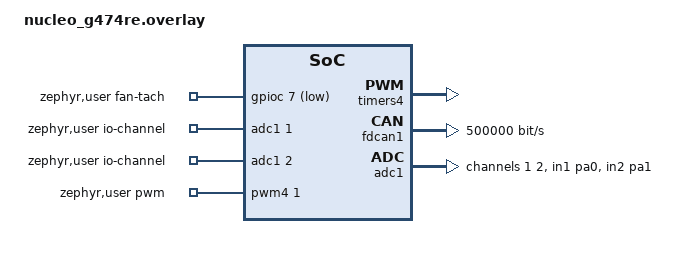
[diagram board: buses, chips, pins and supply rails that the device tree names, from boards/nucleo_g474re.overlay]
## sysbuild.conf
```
# Build MCUboot alongside the app (west build --sysbuild).
# Mode defaults to "swap using offset": MCUboot boots the new image on trial
# and automatically reverts to the previous one if it's never confirmed
# (see boot_write_img_confirmed() in src/main.c). No scratch partition is
# needed for this mode, matching the board's existing flash layout.
SB_CONFIG_BOOTLOADER_MCUBOOT=y
```

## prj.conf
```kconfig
CONFIG_CAN=y
CONFIG_GPIO=y
CONFIG_POLL=y
CONFIG_PWM=y
CONFIG_ADC=y

CONFIG_SERIAL=y
CONFIG_CONSOLE=y
CONFIG_UART_CONSOLE=y
CONFIG_PRINTK=y
CONFIG_STDOUT_CONSOLE=y

CONFIG_MAIN_STACK_SIZE=2048

# MCUboot support (bootloader image is built by sysbuild; CONFIG_BOOTLOADER_MCUBOOT
# and CONFIG_MCUBOOT_MODE_* are propagated to this app automatically from
# sysbuild.conf). IMG_MANAGER is needed for boot_write_img_confirmed() in main.c,
# and itself depends on FLASH_MAP + STREAM_FLASH (not auto-selected).
CONFIG_FLASH=y
CONFIG_FLASH_MAP=y
CONFIG_STREAM_FLASH=y
CONFIG_IMG_MANAGER=y
CONFIG_MCUBOOT_IMG_MANAGER=y
```

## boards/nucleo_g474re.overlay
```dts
/*
 * Fan control node overlay.
 *
 * Arduino header pin usage on this project:
 *   D10 (PB6)  - TIM4_CH1 PWM  -> fan PWM input   (25 kHz)
 *   D9  (PC7)  - GPIO EXTI     -> fan tach output (open-collector, internal pull-up)
 *   A0  (PA0)  - ADC1_IN1      -> voltage sensor module "S" pin
 *   A1  (PA1)  - ADC1_IN2      -> ACS712 current sensor "OUT" pin
 *
 * D10 also carries the default arduino_spi (spi1) chip-select. spi1 is not
 * used by this project, so it is disabled to free PB6 for the fan PWM.
 */

/ {
	zephyr,user {
		io-channels = <&adc1 1>, <&adc1 2>;
		pwms = <&pwm4 1 PWM_USEC(40) PWM_POLARITY_NORMAL>;
		fan-tach-gpios = <&gpioc 7 (GPIO_ACTIVE_LOW | GPIO_PULL_UP)>;
	};
};

&spi1 {
	status = "disabled";
};

&timers4 {
	status = "okay";

	pwm4: pwm {
		status = "okay";
		pinctrl-0 = <&tim4_ch1_pb6>;
		pinctrl-names = "default";
	};
};

&tim4_ch1_pb6 {
	bias-pull-up;
	drive-open-drain;
};

&fdcan1 {
	bitrate = <500000>;
};

&adc1 {
	pinctrl-0 = <&adc1_in1_pa0 &adc1_in2_pa1>;
	pinctrl-names = "default";
	#address-cells = <1>;
	#size-cells = <0>;

	channel@1 {
		reg = <1>;
		zephyr,gain = "ADC_GAIN_1";
		zephyr,reference = "ADC_REF_INTERNAL";
		zephyr,acquisition-time = <ADC_ACQ_TIME_DEFAULT>;
		zephyr,resolution = <12>;
	};

	channel@2 {
		reg = <2>;
		zephyr,gain = "ADC_GAIN_1";
		zephyr,reference = "ADC_REF_INTERNAL";
		zephyr,acquisition-time = <ADC_ACQ_TIME_DEFAULT>;
		zephyr,resolution = <12>;
	};
};
```

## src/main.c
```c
#include <errno.h>
#include <stdbool.h>
#include <stdint.h>
#include <stdio.h>
#include <string.h>

#include <zephyr/device.h>
#include <zephyr/devicetree.h>
#include <zephyr/dfu/mcuboot.h>
#include <zephyr/drivers/adc.h>
#include <zephyr/drivers/can.h>
#include <zephyr/drivers/gpio.h>
#include <zephyr/drivers/pwm.h>
#include <zephyr/kernel.h>
#include <zephyr/sys/atomic.h>
#include <zephyr/sys/util.h>

#if !DT_NODE_EXISTS(DT_PATH(zephyr_user)) || !DT_NODE_HAS_PROP(DT_PATH(zephyr_user), io_channels)
#error "No suitable devicetree overlay specified"
#endif

#define MASTER_TO_NODE_ID 0x120
#define NODE_TO_MASTER_ID 0x121

#define CMD_SET_LED       0x01
#define CMD_GET_STATUS    0x02
#define CMD_PING          0x03
#define CMD_SET_FAN_SPEED 0x04
#define CMD_GET_TACH      0x05
#define CMD_GET_POWER     0x06
#define CMD_GET_FAN_SPEED 0x07

#define STATUS_OK          0x00
#define STATUS_BAD_ARG     0xEF
#define STATUS_UNKNOWN_CMD 0xEE

#define NODE_ID 0x01

/* Fan duty-cycle levels selected by CMD_SET_FAN_SPEED byte1 (0..5). */
#define FAN_SPEED_LEVEL_MAX 5
static const uint8_t fan_duty_pct[FAN_SPEED_LEVEL_MAX + 1] = {0, 20, 40, 60, 80, 100};

/*
 * Most 12V/4-wire fans emit 2 tach pulses per revolution. Check your fan's
 * datasheet and adjust if it differs.
 */
#define TACH_PULSES_PER_REV 2

/*
 * ACS712 sensitivity in mV per amp. Confirm the exact part printed on the
 * module (ACS712ELCTR-05B / -20A / -30A) and update to match:
 *   5A variant  -> 185
 *   20A variant -> 100
 *   30A variant -> 66
 * Defaulted to the 5A variant since a small 12V fan draws well under 1A and
 * that gives the best resolution; change it if your module is a different
 * part.
 */
#define ACS712_MV_PER_A 185

/* Passive resistive-divider voltage sensor module, silkscreened "VCC<25V", ratio 5:1. */
#define VOLTAGE_DIVIDER_RATIO 5

const struct device *const can_dev = DEVICE_DT_GET(DT_CHOSEN(zephyr_canbus));
static const struct gpio_dt_spec led = GPIO_DT_SPEC_GET(DT_ALIAS(led0), gpios);
static const struct pwm_dt_spec fan_pwm = PWM_DT_SPEC_GET(DT_PATH(zephyr_user));
static const struct gpio_dt_spec fan_tach =
	GPIO_DT_SPEC_GET(DT_PATH(zephyr_user), fan_tach_gpios);

#define DT_SPEC_AND_COMMA_FOR_INPUTS(node_id, prop, idx)                                         \
	COND_CODE_1(DT_PHA_HAS_CELL_AT_IDX(node_id, prop, idx, input),                           \
		    (ADC_DT_SPEC_GET_BY_IDX(node_id, idx),), ())

/* io-channels = <&adc1 1>, <&adc1 2>; -> index 0 = voltage sensor, index 1 = ACS712 */
static const struct adc_dt_spec adc_channels[] = {
	DT_FOREACH_PROP_ELEM(DT_PATH(zephyr_user), io_channels, DT_SPEC_AND_COMMA_FOR_INPUTS)};

#define ADC_IDX_VOLTAGE 0
#define ADC_IDX_CURRENT 1

CAN_MSGQ_DEFINE(rx_msgq, 16);

static struct gpio_callback tach_cb_data;
static atomic_t tach_pulse_count;

static struct k_mutex sensor_lock;
static uint16_t last_rpm;
static int32_t last_voltage_mv;
static int32_t last_current_ma;
static int32_t acs712_zero_offset_mv = 2500;
static uint8_t fan_speed_level;

K_THREAD_STACK_DEFINE(sensor_thread_stack, 1024);
static struct k_thread sensor_thread_data;

static void tach_isr(const struct device *dev, struct gpio_callback *cb, uint32_t pins)
{
	ARG_UNUSED(dev);
	ARG_UNUSED(cb);
	ARG_UNUSED(pins);

	atomic_inc(&tach_pulse_count);
}

static int read_adc_mv(size_t idx, int32_t *out_mv)
{
	uint32_t buf = 0;
	struct adc_sequence sequence = {
		.buffer = &buf,
		.buffer_size = sizeof(buf),
	};
	int ret;

	(void)adc_sequence_init_dt(&adc_channels[idx], &sequence);

	ret = adc_read_dt(&adc_channels[idx], &sequence);
	if (ret != 0) {
		return ret;
	}

	int32_t val_mv = (int32_t)buf;

	ret = adc_raw_to_millivolts_dt(&adc_channels[idx], &val_mv);
	if (ret != 0) {
		return ret;
	}

	*out_mv = val_mv;
	return 0;
}

static void calibrate_acs712_zero(void)
{
	enum { CAL_SAMPLES = 32 };
	int64_t sum = 0;
	int good = 0;

	for (int i = 0; i < CAL_SAMPLES; i++) {
		int32_t mv;

		if (read_adc_mv(ADC_IDX_CURRENT, &mv) == 0) {
			sum += mv;
			good++;
		}
		k_msleep(2);
	}

	if (good > 0) {
		acs712_zero_offset_mv = (int32_t)(sum / good);
	}

	printf("ACS712 zero-current offset calibrated: %d mV\n", acs712_zero_offset_mv);
}

static void sensor_thread_fn(void *p1, void *p2, void *p3)
{
	ARG_UNUSED(p1);
	ARG_UNUSED(p2);
	ARG_UNUSED(p3);

	while (1) {
		k_sleep(K_SECONDS(1));

		unsigned int pulses = (unsigned int)atomic_set(&tach_pulse_count, 0);
		uint16_t rpm = (uint16_t)((pulses * 60U) / TACH_PULSES_PER_REV);

		int32_t voltage_mv = 0;
		int32_t current_mv = 0;
		int ret_v = read_adc_mv(ADC_IDX_VOLTAGE, &voltage_mv);
		int ret_c = read_adc_mv(ADC_IDX_CURRENT, &current_mv);

		k_mutex_lock(&sensor_lock, K_FOREVER);
		last_rpm = rpm;
		if (ret_v == 0) {
			last_voltage_mv = voltage_mv * VOLTAGE_DIVIDER_RATIO;
		}
		if (ret_c == 0) {
			last_current_ma =
				((current_mv - acs712_zero_offset_mv) * 1000) / ACS712_MV_PER_A;
		}
		k_mutex_unlock(&sensor_lock);
	}
}

static int send_response(uint8_t status, uint8_t cmd, const uint8_t *payload, size_t payload_len)
{
	struct can_frame tx_frame = {
		.flags = 0,
		.id = NODE_TO_MASTER_ID,
		.dlc = 8,
		.data = {NODE_ID, status, cmd, 0, 0, 0, 0, 0},
	};

	payload_len = MIN(payload_len, sizeof(tx_frame.data) - 3);
	memcpy(&tx_frame.data[3], payload, payload_len);

	int ret = can_send(can_dev, &tx_frame, K_MSEC(100), NULL, NULL);
	if (ret != 0) {
		printf("CAN tx failed: %d\n", ret);
	}

	return ret;
}

static int send_status(uint8_t status, uint8_t cmd, uint8_t value0, uint8_t value1)
{
	uint8_t payload[2] = {value0, value1};

	return send_response(status, cmd, payload, sizeof(payload));
}

static int set_fan_speed(uint8_t level)
{
	if (level > FAN_SPEED_LEVEL_MAX) {
		return -EINVAL;
	}

	uint32_t pulse_ns = (uint32_t)(((uint64_t)fan_pwm.period * fan_duty_pct[level]) / 100U);

	int ret = pwm_set_pulse_dt(&fan_pwm, pulse_ns);
	if (ret == 0) 
	{
		fan_speed_level = level;
	}

	return ret;
}

static void dump_can_frame(const struct can_frame *frame)
{
	printf("CAN RX id=0x%03X dlc=%u data=", frame->id, frame->dlc);

	for (uint8_t i = 0U; i < frame->dlc && i < sizeof(frame->data); i++) {
		printf("%02X", frame->data[i]);
		if (i + 1U < frame->dlc && i + 1U < sizeof(frame->data)) {
			printf(" ");
		}
	}

	printf("\n");
}

int main(void)
{
	const struct can_filter cmd_filter = {
		.flags = 0U,
		.id = MASTER_TO_NODE_ID,
		.mask = CAN_STD_ID_MASK,
	};
	struct can_frame rx_frame;
	uint8_t heartbeat = 0;
	int filter_id;
	int ret;

	if (!device_is_ready(can_dev)) {
		printf("CAN device not ready: %s\n", can_dev->name);
		return 0;
	}
	printf("CAN device is ready\r\n");

	if (!gpio_is_ready_dt(&led)) {
		printf("LED GPIO not ready\n");
		return 0;
	}

	if (!pwm_is_ready_dt(&fan_pwm)) {
		printf("Fan PWM not ready\n");
		return 0;
	}

	if (!gpio_is_ready_dt(&fan_tach)) {
		printf("Fan tach GPIO not ready\n");
		return 0;
	}

	for (size_t i = 0U; i < ARRAY_SIZE(adc_channels); i++) {
		if (!adc_is_ready_dt(&adc_channels[i])) {
			printf("ADC controller %s not ready\n", adc_channels[i].dev->name);
			return 0;
		}

		ret = adc_channel_setup_dt(&adc_channels[i]);
		if (ret < 0) {
			printf("ADC channel #%zu setup failed: %d\n", i, ret);
			return 0;
		}
	}

	printf("ADC Initialized...\r\n");

	ret = gpio_pin_configure_dt(&led, GPIO_OUTPUT_INACTIVE);
	if (ret < 0) {
		printf("LED configure failed: %d\n", ret);
		return 0;
	}

	ret = gpio_pin_configure_dt(&fan_tach, GPIO_INPUT);
	if (ret < 0) {
		printf("Fan tach configure failed: %d\n", ret);
		return 0;
	}

	ret = gpio_pin_interrupt_configure_dt(&fan_tach, GPIO_INT_EDGE_TO_ACTIVE);
	if (ret < 0) {
		printf("Fan tach interrupt configure failed: %d\n", ret);
		return 0;
	}

	gpio_init_callback(&tach_cb_data, tach_isr, BIT(fan_tach.pin));
	gpio_add_callback(fan_tach.port, &tach_cb_data);

	k_mutex_init(&sensor_lock);

	printf("Fan control node starting...\n");
	/* Fan is off (0% duty) at this point; safe moment to zero the current sensor. */
	set_fan_speed(0);
	calibrate_acs712_zero();

	k_thread_create(&sensor_thread_data, sensor_thread_stack,
			 K_THREAD_STACK_SIZEOF(sensor_thread_stack), sensor_thread_fn, NULL, NULL,
			 NULL, K_PRIO_PREEMPT(7), 0, K_NO_WAIT);

	ret = can_start(can_dev);
	if (ret != 0) {
		printf("CAN start failed: %d\n", ret);
		return 0;
	}

	filter_id = can_add_rx_filter_msgq(can_dev, &rx_msgq, &cmd_filter);
	if (filter_id < 0) {
		printf("CAN add filter failed: %d\n", filter_id);
		return 0;
	}

	printf("Fan control node ready. RX id=0x%03X TX id=0x%03X\n", MASTER_TO_NODE_ID,
	       NODE_TO_MASTER_ID);
	send_status(STATUS_OK, CMD_PING, 0xAA, 0x55);

	/*
	 * Startup got this far without a hard failure above: confirm this image so
	 * MCUboot stops treating it as a trial upgrade. Without this, the next
	 * reset after an update reverts to the previous image (swap-using-offset
	 * mode). No-op if the image is already confirmed (e.g. not from an update).
	 */
	ret = boot_write_img_confirmed();
	if (ret != 0) {
		printf("Failed to confirm image: %d\n", ret);
	}

	while (1) {
		ret = k_msgq_get(&rx_msgq, &rx_frame, K_FOREVER);
		if (ret != 0) {
			continue;
		}

		dump_can_frame(&rx_frame);

		if (rx_frame.dlc < 1U) {
			send_status(STATUS_UNKNOWN_CMD, 0x00, 0, 0);
			continue;
		}

		switch (rx_frame.data[0]) {
		case CMD_SET_LED: {
			if (rx_frame.dlc < 2U) {
				send_status(STATUS_UNKNOWN_CMD, CMD_SET_LED, 0, 0);
				break;
			}

			uint8_t led_on = rx_frame.data[1] ? 1U : 0U;
			ret = gpio_pin_set_dt(&led, led_on);
			if (ret < 0) {
				send_status((uint8_t)(-ret), CMD_SET_LED, led_on, 0);
				break;
			}

			send_status(STATUS_OK, CMD_SET_LED, led_on, 0);
			break;
		}

		case CMD_GET_STATUS:
			heartbeat++;
			send_status(STATUS_OK, CMD_GET_STATUS, heartbeat,
				    (uint8_t)gpio_pin_get_dt(&led));
			break;

		case CMD_PING:
			send_status(STATUS_OK, CMD_PING, 0x50, 0x4F);
			break;

		case CMD_SET_FAN_SPEED: {
			if (rx_frame.dlc < 2U) {
				send_status(STATUS_UNKNOWN_CMD, CMD_SET_FAN_SPEED, 0, 0);
				break;
			}

			uint8_t level = rx_frame.data[1];

			ret = set_fan_speed(level);
			
			if (ret < 0) {
				send_status(STATUS_BAD_ARG, CMD_SET_FAN_SPEED, level, 0);
				break;
			}

			send_status(STATUS_OK, CMD_SET_FAN_SPEED, level, fan_duty_pct[level]);
			break;
		}

		case CMD_GET_FAN_SPEED:
			send_status(STATUS_OK, CMD_GET_FAN_SPEED, fan_speed_level,
				    fan_duty_pct[fan_speed_level]);
			break;

		case CMD_GET_TACH: {
			k_mutex_lock(&sensor_lock, K_FOREVER);
			uint16_t rpm = last_rpm;
			k_mutex_unlock(&sensor_lock);

			uint8_t payload[2] = {(uint8_t)(rpm >> 8), (uint8_t)(rpm & 0xFF)};

			send_response(STATUS_OK, CMD_GET_TACH, payload, sizeof(payload));
			break;
		}

		case CMD_GET_POWER: {
			k_mutex_lock(&sensor_lock, K_FOREVER);
			int32_t voltage_mv = last_voltage_mv;
			int32_t current_ma = last_current_ma;
			k_mutex_unlock(&sensor_lock);

			uint16_t voltage_u16 = (uint16_t)CLAMP(voltage_mv, 0, UINT16_MAX);
			int16_t current_i16 = (int16_t)CLAMP(current_ma, INT16_MIN, INT16_MAX);

			uint8_t payload[4] = {
				(uint8_t)(voltage_u16 >> 8),
				(uint8_t)(voltage_u16 & 0xFF),
				(uint8_t)(((uint16_t)current_i16) >> 8),
				(uint8_t)(((uint16_t)current_i16) & 0xFF),
			};

			send_response(STATUS_OK, CMD_GET_POWER, payload, sizeof(payload));
			break;
		}

		default:
			send_status(STATUS_UNKNOWN_CMD, rx_frame.data[0], 0, 0);
			break;
		}
	}

	return 0;
}
```
